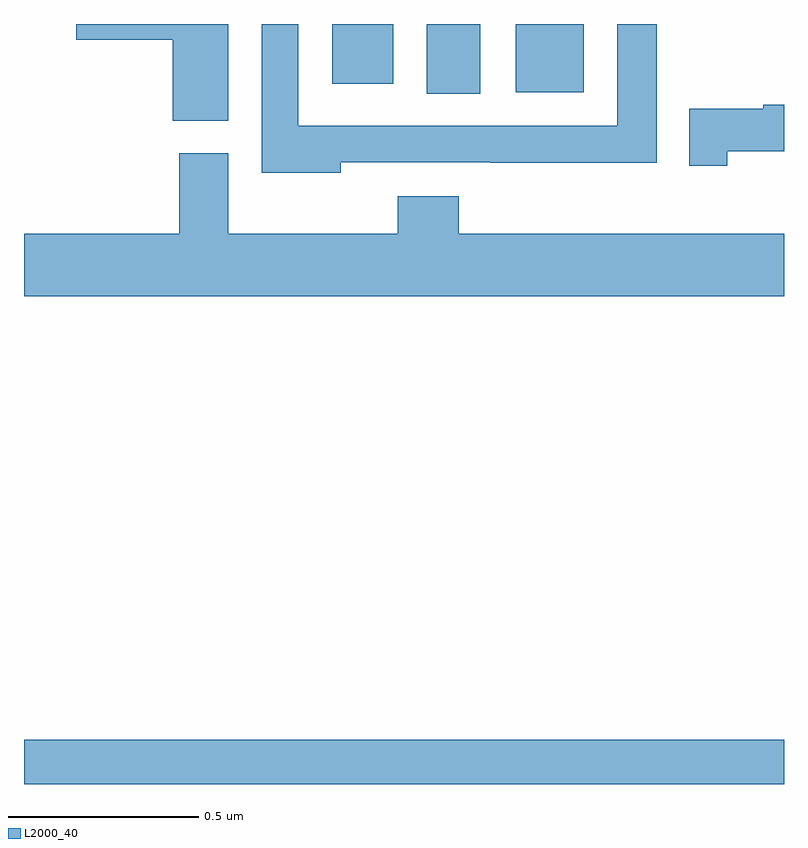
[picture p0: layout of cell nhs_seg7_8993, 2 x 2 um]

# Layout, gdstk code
import gdstk
lib = gdstk.Library(unit=1e-6, precision=1e-09)
def R(c, l, rs):  # rectangles x0, y0, x1, y1
    for r in rs: c.add(gdstk.rectangle(r[:2], r[2:], *l))
def P(c, l, *ps):  # polygons
    for p in ps: c.add(gdstk.Polygon(p, *l))
L2000_40 = (2000, 40)

nhs_seg7_8993 = lib.new_cell('nhs_seg7_8993')
R(nhs_seg7_8993, L2000_40, [(232,998,234,998.116), (233.06,999.817,233.2,1000), (233.294,999.821,233.473,1000), (232.811,999.843,232.972,1000)])
P(nhs_seg7_8993, L2000_40, [(232.833,999.636),(233.227,999.636),(233.227,999.635),(233.665,999.635),(233.665,1000),(233.561,1000),(233.561,999.732),(232.722,999.732),(232.722,1000),(232.626,1000),(232.626,999.608),(232.833,999.608)],
  [(232.537,1000),(232.137,1000),(232.137,999.959),(232.391,999.959),(232.391,999.745),(232.537,999.745)],
  [(233.85,999.665),(234,999.665),(234,999.787),(233.946,999.787),(233.946,999.777),(233.75,999.777),(233.75,999.627),(233.85,999.627)],
  [(234,999.448),(233.144,999.448),(233.144,999.547),(232.984,999.547),(232.984,999.448),(232.537,999.448),(232.537,999.66),(232.409,999.66),(232.409,999.448),(232,999.448),(232,999.284),(234,999.284)])

lib.write_gds('nhs_seg7_8993.gds')
